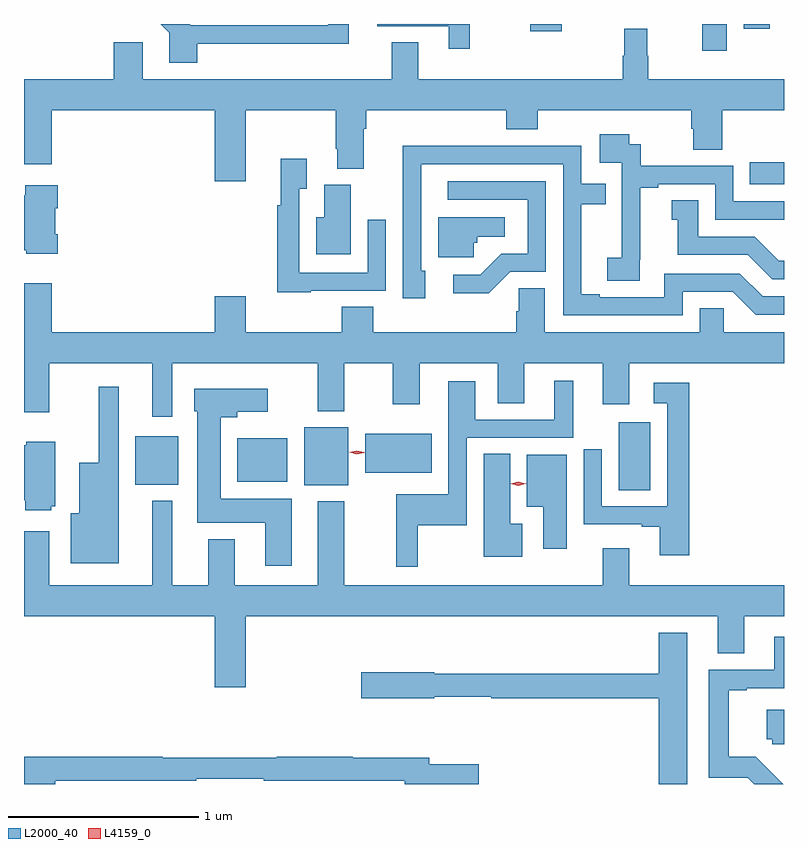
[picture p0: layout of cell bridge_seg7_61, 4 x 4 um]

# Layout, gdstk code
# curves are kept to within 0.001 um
import gdstk
lib = gdstk.Library(unit=1e-6, precision=1e-09)
def R(c, l, rs):  # rectangles x0, y0, x1, y1
    for r in rs: c.add(gdstk.rectangle(r[:2], r[2:], *l))
def P(c, l, *ps):  # polygons
    for p in ps: c.add(gdstk.Polygon(p, *l))
L2000_40 = (2000, 40)
L4159_0 = (4159, 0)

bridge_seg7_61 = lib.new_cell('bridge_seg7_61')
R(bridge_seg7_61, L2000_40, [(898.403,1002.613,898.57,1002.97), (896.747,1002.638,896.98,1002.943), (895.859,1002.641,896.086,1002.895), (896.396,1002.656,896.659,1002.886), (897.068,1002.704,897.418,1002.91), (899.092,1004.223,899.273,1004.338), (898.843,1004.925,898.972,1005.066), (897.937,1005.027,898.102,1005.066), (899.06,1005.042,899.197,1005.066)])
P(bridge_seg7_61, L2000_40, [(897.619,1005.066),(897.131,1005.066),(897.131,1005.054),(897.509,1005.054),(897.509,1004.937),(897.619,1004.937)],
  [(896.186,1004.963),(896.983,1004.963),(896.983,1005.066),(896.874,1005.066),(896.874,1005.06),(896.151,1005.06),(896.145,1005.066),(895.992,1005.066),(896.037,1005.021),(896.037,1004.862),(896.186,1004.862)],
  [(896.44,1004.612),(896.914,1004.612),(896.914,1004.41),(896.921,1004.41),(896.921,1004.305),(897.061,1004.305),(897.061,1004.516),(897.074,1004.516),(897.074,1004.612),(897.812,1004.612),(897.812,1004.513),(897.977,1004.513),(897.977,1004.612),(898.784,1004.612),(898.784,1004.514),(898.796,1004.514),(898.796,1004.404),(898.949,1004.404),(898.949,1004.612),(899.273,1004.612),(899.273,1004.776),(898.559,1004.776),(898.559,1004.9),(898.552,1004.9),(898.552,1005.04),(898.431,1005.04),(898.431,1004.9),(898.423,1004.9),(898.423,1004.776),(897.349,1004.776),(897.349,1004.969),(897.209,1004.969),(897.209,1004.776),(895.897,1004.776),(895.897,1004.971),(895.745,1004.971),(895.745,1004.776),(895.273,1004.776),(895.273,1004.328),(895.418,1004.328),(895.418,1004.612),(896.276,1004.612),(896.276,1004.238),(896.44,1004.238)],
  [(898.514,1003.825),(898.516,1003.825),(898.516,1004.203),(898.612,1004.203),(898.612,1004.223),(898.911,1004.223),(898.911,1004.037),(899.273,1004.037),(899.273,1004.133),(899.007,1004.133),(899.007,1004.319),(898.52,1004.319),(898.52,1004.433),(898.458,1004.433),(898.458,1004.485),(898.302,1004.485),(898.302,1004.337),(898.419,1004.337),(898.419,1004.033),(898.418,1004.033),(898.418,1003.836),(898.344,1003.836),(898.344,1003.714),(898.514,1003.714)],
  [(898.74,1003.656),(899.004,1003.656),(899.124,1003.536),(899.273,1003.536),(899.273,1003.632),(899.16,1003.632),(899.04,1003.752),(898.644,1003.752),(898.644,1003.629),(898.303,1003.629),(898.303,1003.644),(898.207,1003.644),(898.207,1004.118),(898.334,1004.118),(898.334,1004.226),(898.206,1004.226),(898.206,1004.424),(897.728,1004.424),(897.728,1004.426),(897.266,1004.426),(897.267,1003.623),(897.385,1003.623),(897.385,1003.767),(897.363,1003.767),(897.363,1004.328),(898.11,1004.328),(898.11,1003.533),(898.74,1003.533)],
  [(896.781,1003.662),(897.177,1003.662),(897.177,1004.035),(897.081,1004.035),(897.081,1003.758),(896.721,1003.758),(896.721,1004.2),(896.761,1004.2),(896.761,1004.356),(896.624,1004.356),(896.624,1004.111),(896.605,1004.111),(896.605,1003.655),(896.781,1003.655)],
  [(897.831,1003.761),(898.02,1003.761),(898.02,1004.238),(897.504,1004.238),(897.504,1004.142),(897.924,1004.142),(897.924,1003.857),(897.786,1003.857),(897.675,1003.746),(897.531,1003.746),(897.531,1003.649),(897.718,1003.649)],
  [(896.992,1004.22),(896.852,1004.22),(896.852,1004.05),(896.81,1004.05),(896.81,1003.853),(896.992,1003.853)],
  [(895.451,1003.96),(895.438,1003.96),(895.438,1004.096),(895.451,1004.096),(895.451,1004.218),(895.28,1004.218),(895.28,1004.164),(895.273,1004.164),(895.273,1003.874),(895.284,1003.874),(895.284,1003.856),(895.451,1003.856)],
  [(899.273,1003.819),(899.246,1003.819),(899.118,1003.947),(898.822,1003.947),(898.822,1004.138),(898.682,1004.138),(898.682,1004.035),(898.715,1004.035),(898.715,1003.851),(899.082,1003.851),(899.211,1003.722),(899.273,1003.722)],
  [(897.639,1003.914),(897.658,1003.914),(897.658,1003.946),(897.802,1003.946),(897.802,1004.05),(897.452,1004.05),(897.452,1003.839),(897.639,1003.839)],
  [(896.053,1003.28),(896.819,1003.28),(896.819,1003.028),(896.959,1003.028),(896.959,1003.28),(897.215,1003.28),(897.215,1003.065),(897.355,1003.065),(897.355,1003.28),(897.767,1003.28),(897.767,1003.069),(897.907,1003.069),(897.907,1003.28),(898.319,1003.28),(898.319,1003.065),(898.459,1003.065),(898.459,1003.28),(899.273,1003.28),(899.273,1003.444),(898.956,1003.444),(898.956,1003.571),(898.829,1003.571),(898.829,1003.444),(898.015,1003.444),(898.015,1003.676),(897.876,1003.676),(897.876,1003.553),(897.863,1003.553),(897.863,1003.444),(897.11,1003.444),(897.11,1003.577),(896.945,1003.577),(896.945,1003.444),(896.44,1003.444),(896.44,1003.633),(896.276,1003.633),(896.276,1003.444),(895.418,1003.444),(895.418,1003.702),(895.273,1003.702),(895.273,1003.023),(895.405,1003.023),(895.405,1003.28),(895.949,1003.28),(895.949,1002.999),(896.053,1002.999)],
  [(897.346,1002.427),(897.603,1002.427),(897.603,1002.888),(898.163,1002.888),(898.163,1003.189),(898.064,1003.189),(898.064,1002.984),(897.649,1002.984),(897.649,1003.186),(897.507,1003.186),(897.507,1002.592),(897.232,1002.592),(897.232,1002.21),(897.346,1002.21)],
  [(898.775,1003.177),(898.587,1003.177),(898.587,1003.071),(898.659,1003.071),(898.659,1002.528),(898.314,1002.528),(898.314,1002.829),(898.218,1002.829),(898.218,1002.432),(898.523,1002.432),(898.523,1002.42),(898.619,1002.42),(898.619,1002.27),(898.775,1002.27)],
  [(895.771,1003.156),(895.667,1003.156),(895.667,1002.757),(895.565,1002.757),(895.565,1002.49),(895.52,1002.49),(895.52,1002.227),(895.771,1002.227)],
  [(896.683,1002.568),(896.308,1002.568),(896.308,1002.995),(896.395,1002.995),(896.395,1003.025),(896.557,1003.025),(896.557,1003.147),(896.168,1003.147),(896.168,1003.029),(896.186,1003.029),(896.186,1002.44),(896.543,1002.44),(896.543,1002.216),(896.683,1002.216)],
  [(895.416,1002.528),(895.438,1002.528),(895.438,1002.868),(895.284,1002.868),(895.284,1002.85),(895.273,1002.85),(895.273,1002.56),(895.28,1002.56),(895.28,1002.506),(895.416,1002.506)],
  [(897.895,1002.436),(897.832,1002.436),(897.832,1002.803),(897.692,1002.803),(897.692,1002.263),(897.895,1002.263)],
  [(898.129,1002.799),(897.92,1002.799),(897.92,1002.524),(898.007,1002.524),(898.007,1002.303),(898.129,1002.303)],
  [(896.44,1001.948),(898.925,1001.948),(898.925,1001.754),(899.065,1001.754),(899.065,1001.948),(899.273,1001.948),(899.273,1002.112),(898.459,1002.112),(898.459,1002.307),(898.319,1002.307),(898.319,1002.112),(896.959,1002.112),(896.959,1002.553),(896.819,1002.553),(896.819,1002.112),(896.383,1002.112),(896.383,1002.355),(896.243,1002.355),(896.243,1002.112),(896.053,1002.112),(896.053,1002.556),(895.949,1002.556),(895.949,1002.112),(895.405,1002.112),(895.405,1002.397),(895.273,1002.397),(895.273,1001.948),(896.276,1001.948),(896.276,1001.574),(896.44,1001.574)],
  [(898.765,1001.863),(898.613,1001.863),(898.613,1001.647),(897.432,1001.647),(897.432,1001.655),(897.048,1001.655),(897.048,1001.518),(897.432,1001.518),(897.432,1001.526),(897.732,1001.526),(897.732,1001.518),(898.613,1001.518),(898.613,1001.066),(898.765,1001.066)],
  [(899.125,1001.21),(898.981,1001.21),(898.981,1001.559),(899.077,1001.559),(899.077,1001.571),(899.273,1001.571),(899.273,1001.842),(899.222,1001.842),(899.222,1001.667),(898.877,1001.667),(898.877,1001.1),(899.082,1001.1),(899.116,1001.066),(899.269,1001.066)],
  [(899.273,1001.458),(899.183,1001.458),(899.183,1001.301),(899.211,1001.301),(899.211,1001.274),(899.273,1001.274)],
  [(895.438,1001.082),(896.18,1001.082),(896.18,1001.094),(896.536,1001.094),(896.536,1001.082),(897.278,1001.082),(897.278,1001.066),(897.667,1001.066),(897.667,1001.169),(897.406,1001.169),(897.406,1001.203),(897.002,1001.203),(897.002,1001.21),(896.602,1001.21),(896.602,1001.203),(896.003,1001.203),(896.003,1001.21),(895.273,1001.21),(895.273,1001.066),(895.438,1001.066)])
P(bridge_seg7_61, L4159_0, [(897.875,1002.636),(897.835,1002.646),(897.834,1002.646),(897.835,1002.646),(897.875,1002.656),(897.915,1002.646),(897.916,1002.646),(897.915,1002.646)],
  [(897.025,1002.801),(896.985,1002.811),(896.985,1002.811),(896.985,1002.811),(897.025,1002.821),(897.065,1002.811),(897.065,1002.811),(897.065,1002.81)])

lib.write_gds('bridge_seg7_61.gds')
